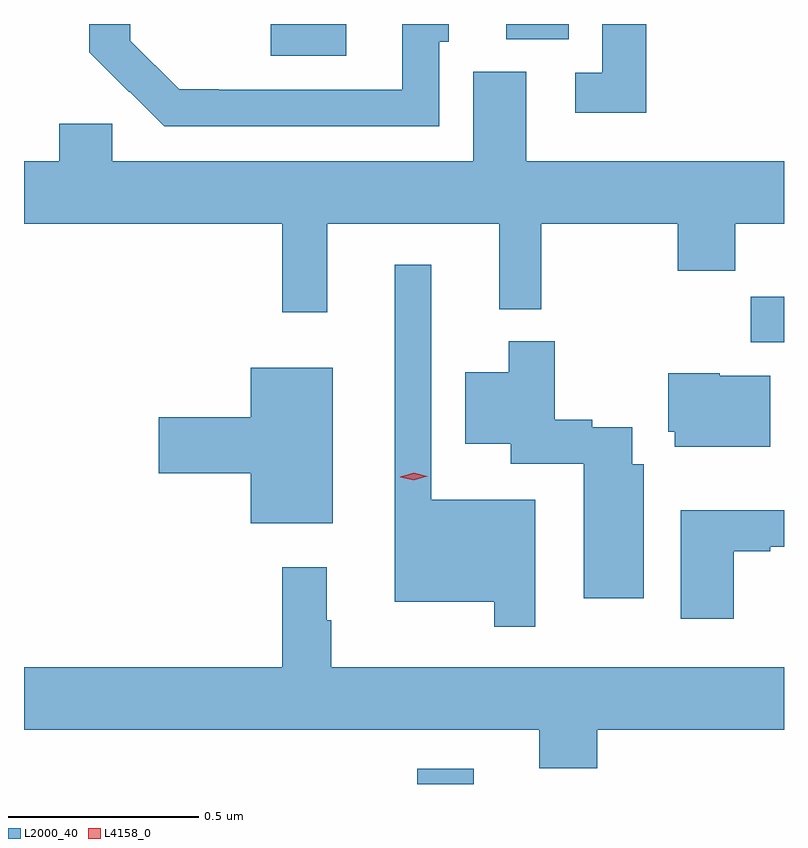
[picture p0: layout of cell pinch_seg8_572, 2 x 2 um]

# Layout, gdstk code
import gdstk
lib = gdstk.Library(unit=1e-6, precision=1e-09)
def R(c, l, rs):  # rectangles x0, y0, x1, y1
    for r in rs: c.add(gdstk.rectangle(r[:2], r[2:], *l))
def P(c, l, *ps):  # polygons
    for p in ps: c.add(gdstk.Polygon(p, *l))
L2000_40 = (2000, 40)
L4158_0 = (4158, 0)

pinch_seg8_572 = lib.new_cell('pinch_seg8_572')
R(pinch_seg8_572, L2000_40, [(169.568,1108.365,169.717,1108.405), (170.446,1109.528,170.533,1109.647), (169.182,1110.282,169.381,1110.365), (169.802,1110.325,169.966,1110.365)])
P(pinch_seg8_572, L2000_40, [(169.626,1110.318),(169.651,1110.318),(169.651,1110.365),(169.529,1110.365),(169.529,1110.192),(169.045,1110.192),(169.045,1110.193),(168.942,1110.193),(168.813,1110.321),(168.813,1110.365),(168.705,1110.365),(168.705,1110.291),(168.81,1110.186),(168.811,1110.187),(168.902,1110.096),(169.626,1110.096)],
  [(170.171,1110.365),(170.055,1110.365),(170.055,1110.237),(169.983,1110.237),(169.983,1110.132),(170.171,1110.132)],
  [(169.331,1109.84),(169.784,1109.84),(169.784,1109.615),(169.894,1109.615),(169.894,1109.84),(170.254,1109.84),(170.254,1109.716),(170.405,1109.716),(170.405,1109.84),(170.533,1109.84),(170.533,1110.004),(169.855,1110.004),(169.855,1110.24),(169.715,1110.24),(169.715,1110.004),(168.765,1110.004),(168.765,1110.102),(168.626,1110.102),(168.626,1110.004),(168.533,1110.004),(168.533,1109.84),(169.213,1109.84),(169.213,1109.607),(169.331,1109.607)],
  [(169.878,1109.113),(169.605,1109.113),(169.605,1109.731),(169.508,1109.731),(169.508,1108.844),(169.77,1108.844),(169.77,1108.779),(169.878,1108.779)],
  [(170.164,1109.206),(170.134,1109.206),(170.134,1109.304),(170.028,1109.304),(170.028,1109.324),(169.93,1109.324),(169.93,1109.53),(169.808,1109.53),(169.808,1109.449),(169.694,1109.449),(169.694,1109.261),(169.814,1109.261),(169.814,1109.208),(170.006,1109.208),(170.006,1108.854),(170.164,1108.854)],
  [(169.345,1109.461),(169.13,1109.461),(169.13,1109.33),(168.888,1109.33),(168.888,1109.183),(169.13,1109.183),(169.13,1109.051),(169.345,1109.051)],
  [(170.497,1109.44),(170.364,1109.44),(170.364,1109.446),(170.228,1109.446),(170.228,1109.292),(170.246,1109.292),(170.246,1109.252),(170.497,1109.252)],
  [(170.401,1108.977),(170.497,1108.977),(170.497,1108.989),(170.533,1108.989),(170.533,1109.086),(170.261,1109.086),(170.261,1108.8),(170.401,1108.8)],
  [(170.042,1108.508),(170.533,1108.508),(170.533,1108.672),(169.342,1108.672),(169.342,1108.796),(169.33,1108.796),(169.33,1108.936),(169.213,1108.936),(169.213,1108.672),(168.533,1108.672),(168.533,1108.508),(169.889,1108.508),(169.889,1108.406),(170.042,1108.406)])
P(pinch_seg8_572, L4158_0, [(169.559,1109.164),(169.523,1109.172),(169.523,1109.172),(169.523,1109.173),(169.558,1109.184),(169.594,1109.175),(169.595,1109.175),(169.594,1109.175)])

lib.write_gds('pinch_seg8_572.gds')
